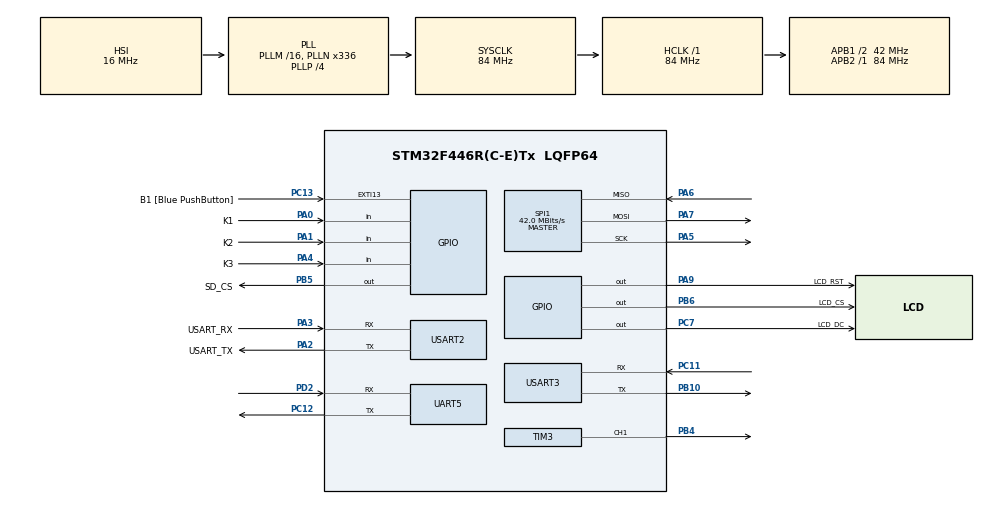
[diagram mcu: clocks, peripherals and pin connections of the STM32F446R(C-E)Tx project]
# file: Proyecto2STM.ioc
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Dma.Request0=SPI1_TX
Dma.SPI1_TX.0.Direction=DMA_MEMORY_TO_PERIPH
Dma.SPI1_TX.0.FIFOMode=DMA_FIFOMODE_DISABLE
Dma.SPI1_TX.0.Instance=DMA2_Stream3
Dma.SPI1_TX.0.MemDataAlignment=DMA_MDATAALIGN_BYTE
Dma.SPI1_TX.0.MemInc=DMA_MINC_ENABLE
Dma.SPI1_TX.0.Mode=DMA_NORMAL
Dma.SPI1_TX.0.PeriphDataAlignment=DMA_PDATAALIGN_BYTE
Dma.SPI1_TX.0.PeriphInc=DMA_PINC_DISABLE
Dma.SPI1_TX.0.Priority=DMA_PRIORITY_HIGH
Mcu.Family=STM32F4
Mcu.Name=STM32F446R(C-E)Tx
Mcu.Package=LQFP64
NVIC.DMA2_Stream3_IRQn=true\:0\:0\:false\:false\:true\:false\:true\:true
NVIC.PriorityGroup=NVIC_PRIORITYGROUP_0
NVIC.UART5_IRQn=true\:0\:0\:false\:false\:true\:true\:true\:true
NVIC.USART2_IRQn=true\:0\:0\:false\:false\:true\:true\:true\:true
NVIC.USART3_IRQn=true\:0\:0\:false\:false\:true\:true\:true\:true
PA0-WKUP.GPIO_Label=K1
PA0-WKUP.Signal=GPIO_Input
PA1.GPIO_Label=K2
PA1.Signal=GPIO_Input
PA13.GPIO_Label=TMS
PA13.Signal=SYS_JTMS-SWDIO
PA14.GPIO_Label=TCK
PA14.Signal=SYS_JTCK-SWCLK
PA2.GPIO_Label=USART_TX
PA2.Mode=Asynchronous
PA2.Signal=USART2_TX
PA3.GPIO_Label=USART_RX
PA3.Mode=Asynchronous
PA3.Signal=USART2_RX
PA4.GPIO_Label=K3
PA4.Signal=GPIO_Input
PA5.Mode=Full_Duplex_Master
PA5.Signal=SPI1_SCK
PA6.Mode=Full_Duplex_Master
PA6.Signal=SPI1_MISO
PA7.Mode=Full_Duplex_Master
PA7.Signal=SPI1_MOSI
PA9.GPIO_Label=LCD_RST
PA9.GPIO_Speed=GPIO_SPEED_FREQ_LOW
PA9.PinState=GPIO_PIN_SET
PA9.Signal=GPIO_Output
PB10.Mode=Asynchronous
PB10.Signal=USART3_TX
PB3.GPIO_Label=SWO
PB3.Signal=SYS_JTDO-SWO
PB4.Signal=S_TIM3_CH1
PB5.GPIO_Label=SD_CS
PB5.PinState=GPIO_PIN_SET
PB5.Signal=GPIO_Output
PB6.GPIO_Label=LCD_CS
PB6.GPIO_PuPd=GPIO_NOPULL
PB6.GPIO_Speed=GPIO_SPEED_FREQ_LOW
PB6.PinState=GPIO_PIN_SET
PB6.Signal=GPIO_Output
PC11.Mode=Asynchronous
PC11.Signal=USART3_RX
PC12.Mode=Asynchronous
PC12.Signal=UART5_TX
PC13.GPIO_Label=B1 [Blue PushButton]
PC13.GPIO_ModeDefaultEXTI=GPIO_MODE_IT_FALLING
PC13.Signal=GPXTI13
PC14-OSC32_IN.Signal=RCC_OSC32_IN
PC15-OSC32_OUT.Signal=RCC_OSC32_OUT
PC7.GPIO_Label=LCD_DC
PC7.GPIO_Speed=GPIO_SPEED_FREQ_LOW
PC7.Signal=GPIO_Output
PD2.Mode=Asynchronous
PD2.Signal=UART5_RX
PH0-OSC_IN.Signal=RCC_OSC_IN
PH1-OSC_OUT.Signal=RCC_OSC_OUT
ProjectManager.HeapSize=0x200
ProjectManager.StackSize=0x400
ProjectManager.TargetToolchain=STM32CubeIDE
RCC.AHBFreq_Value=84000000
RCC.APB1CLKDivider=RCC_HCLK_DIV2
RCC.APB1Freq_Value=42000000
RCC.APB1TimFreq_Value=84000000
RCC.APB2Freq_Value=84000000
RCC.APB2TimFreq_Value=84000000
RCC.CortexFreq_Value=84000000
RCC.FLatency-AdvancedSettings=FLASH_LATENCY_2
RCC.HCLKFreq_Value=84000000
RCC.HSE_VALUE=8000000
RCC.HSI_VALUE=16000000
RCC.LSE_VALUE=32768
RCC.PLLN=336
RCC.PLLP=RCC_PLLP_DIV4
RCC.SYSCLKFreq_VALUE=84000000
RCC.SYSCLKSource=RCC_SYSCLKSOURCE_PLLCLK
RCC.USBFreq_Value=168000000
RCC.VCOOutputFreq_Value=336000000
SH.S_TIM3_CH1.0=TIM3_CH1,PWM Generation1 CH1
SPI1.BaudRatePrescaler=SPI_BAUDRATEPRESCALER_2
SPI1.CalculateBaudRate=42.0 MBits/s
SPI1.Direction=SPI_DIRECTION_2LINES
SPI1.Mode=SPI_MODE_MASTER
SPI1.VirtualType=VM_MASTER
TIM3.Channel-PWM\ Generation1\ CH1=TIM_CHANNEL_1
TIM3.Period=999
TIM3.Prescaler=83
TIM3.Pulse-PWM\ Generation1\ CH1=500
UART5.VirtualMode=Asynchronous
USART2.VirtualMode=VM_ASYNC
USART3.VirtualMode=VM_ASYNC
VP_FATFS_VS_Generic.Mode=User_defined
board=NUCLEO-F446RE

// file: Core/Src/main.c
/* USER CODE BEGIN Header */
/**
  ******************************************************************************
  * @file           : main.c
  * @brief          : Main program body
  ******************************************************************************
  */
/* USER CODE END Header */
#include "main.h"
#include "fatfs.h"

/* USER CODE BEGIN Includes */

#include "ili9341.h"
#include <math.h>
#include "car_sprites.h"
#include "track_tiles.h"
#include "villa_nueva_map.h"
#include "caes_map.h"

/* USER CODE END Includes */

/* USER CODE BEGIN PTD */

typedef enum
{
    STATE_MENU,
    STATE_MAP_SELECT,
    STATE_CAR_SELECT_P1,
    STATE_CAR_SELECT_P2,
    STATE_GAME,
	STATE_RACE_END,
	STATE_RECORDS
} GameState;

/* USER CODE END PTD */

/* USER CODE BEGIN PD */
#define MAX_SPEED 340.0f
#define GRASS_MAX_SPEED 80.0f
#define GRASS_DRAG 600.0f
#define NO_RECORD_TIME 0xFFFFFFFFUL
#define CTRL_LEFT   0x01
#define CTRL_RIGHT  0x02
#define CTRL_ACCEL  0x04
#define CTRL_BRAKE  0x08
/* USER CODE END PD */

SPI_HandleTypeDef hspi1;
DMA_HandleTypeDef hdma_spi1_tx;

TIM_HandleTypeDef htim3;

UART_HandleTypeDef huart5;
UART_HandleTypeDef huart2;
UART_HandleTypeDef huart3;

/* USER CODE BEGIN PV */

float car1_x = 0.0f;
float car1_y = 0.0f;
float car1_angle = 90.0f;
float car1_speed = 0.0f;

float car2_x = 0.0f;
float car2_y = 0.0f;
float car2_angle = 90.0f;
float car2_speed = 0.0f;

uint8_t active_player = 1;

GPIO_PinState last_brake;

GPIO_PinState idle_k1;
GPIO_PinState idle_k2;
GPIO_PinState idle_k3;

GPIO_PinState last_k1;
GPIO_PinState last_k2;
GPIO_PinState last_k3;

uint32_t last_tick = 0;
uint32_t last_frame_tick = 0;

uint8_t countdown_active = 0;
uint32_t countdown_start_tick = 0;

uint32_t race_start_tick = 0;
uint32_t race_time_ms = 0;
uint8_t race_timer_started = 0;

uint8_t line_buffer[2][ILI9341_WIDTH * 2];

uint8_t *draw_buffer;

GameState game_state = STATE_MENU;

uint8_t menu_selection = 0;
uint8_t player_count = 1;

uint8_t selected_map = 0;

uint8_t car_selection = 0;
uint8_t selected_car_p1 = 0;
uint8_t selected_car_p2 = 1;

uint8_t lap_armed_p1 = 0;
uint8_t lap_armed_p2 = 0;

uint8_t winner_player = 0;
uint32_t race_end_tick = 0;

uint8_t sd_available = 0;

uint32_t best_time[2] =
{
    NO_RECORD_TIME,   // Villa Nueva
    NO_RECORD_TIME    // CAES
};

volatile uint8_t p1_controls = 0;
uint8_t p1_rx_byte = 0;
uint32_t p1_last_rx_tick = 0;

volatile uint8_t p2_controls = 0;
uint8_t p2_rx_byte = 0;
uint32_t p2_last_rx_tick = 0;

GPIO_PinState idle_brake;

/* USER CODE END PV */

void SystemClock_Config(void);
static void MX_GPIO_Init(void);
static void MX_DMA_Init(void);
static void MX_SPI1_Init(void);
static void MX_TIM3_Init(void);
static void MX_USART2_UART_Init(void);
static void MX_USART3_UART_Init(void);
static void MX_UART5_Init(void);
/* USER CODE BEGIN PFP */
static void CheckAndSaveRecord(void);
/* USER CODE END PFP */

/* USER CODE BEGIN 0 */

static void ResetRacePosition(void)
{
    car1_speed = 0.0f;
    car2_speed = 0.0f;

    active_player = 1;

    lap_armed_p1 = 0;
    lap_armed_p2 = 0;

    winner_player = 0;

    race_start_tick = 0;
    race_time_ms = 0;
    race_timer_started = 0;

    if (selected_map == 0)
    {
        float start_world_x =
            VILLA_NUEVA_START_TILE_X *
            TRACK_TILE_SIZE +
            TRACK_TILE_SIZE / 2.0f;

        float start_world_y =
            VILLA_NUEVA_START_TILE_Y *
            TRACK_TILE_SIZE +
            TRACK_TILE_SIZE / 2.0f;

        if (player_count == 1)
        {
            car1_x =
                start_world_x;

            car1_y =
                start_world_y;
        }
        else
        {
            /*
             * La meta va horizontalmente
             * y los carros miran hacia +X.
             *
             * Por eso los separamos en Y.
             */

            car1_x =
                start_world_x;

            car1_y =
                start_world_y - 18.0f;

            car2_x =
                start_world_x;

            car2_y =
                start_world_y + 18.0f;
        }

        car1_angle = 90.0f;
        car2_angle = 90.0f;
    }
    else if (selected_map == 1)
    {
        float start_world_x =
            CAES_START_TILE_X *
            TRACK_TILE_SIZE +
            TRACK_TILE_SIZE / 2.0f;

        float start_world_y =
            CAES_START_TILE_Y *
            TRACK_TILE_SIZE +
            TRACK_TILE_SIZE / 2.0f;

        if (player_count == 1)
        {
            car1_x =
                start_world_x;

            car1_y =
                start_world_y;
        }
        else
        {
            car1_x =
                start_world_x;

            car1_y =
                start_world_y -
                18.0f;

            car2_x =
                start_world_x;

            car2_y =
                start_world_y +
                18.0f;
        }

        car1_angle = 90.0f;
        car2_angle = 90.0f;
    }

    countdown_active = 1;
    countdown_start_tick = HAL_GetTick();
}

static void UpdateCar(
    float *x,
    float *y,
    float *angle,
    float *speed,
    uint8_t left,
    uint8_t right,
    uint8_t accel,
    uint8_t brake,
    float dt)
{
    const float TURN_SPEED =
        180.0f;

    const float ACCELERATION =
        100.0f;

    const float BRAKE_FORCE =
        450.0f;

    const float COAST_DRAG =
        40.0f;

    if (left && !right)
    {
        *angle -=
            TURN_SPEED *
            dt;

        if (*angle < 0.0f)
        {
            *angle += 360.0f;
        }
    }

    if (right && !left)
    {
        *angle +=
            TURN_SPEED *
            dt;

        if (*angle >= 360.0f)
        {
            *angle -= 360.0f;
        }
    }

    if (brake)
    {
        *speed -=
            BRAKE_FORCE *
            dt;
    }
    else if (accel)
    {
        *speed +=
            ACCELERATION *
            dt;
    }
    else
    {
        *speed -=
            COAST_DRAG *
            dt;
    }

    if (*speed > MAX_SPEED)
    {
        *speed =
            MAX_SPEED;
    }

    if (*speed < 0.0f)
    {
        *speed =
            0.0f;
    }

    if (*speed > 0.0f)
    {
        float radians =
            (*angle) *
            3.14159265f /
            180.0f;

        *x +=
            sinf(radians) *
            (*speed) *
            dt;

        *y -=
            cosf(radians) *
            (*speed) *
            dt;
    }
}

static int PositiveMod(int value, int modulo)
{
    int result = value % modulo;

    if (result < 0)
    {
        result += modulo;
    }

    return result;
}

static int FloorDiv32(int value)
{
    if (value >= 0)
    {
        return value / TRACK_TILE_SIZE;
    }

    return -(
        (-value + TRACK_TILE_SIZE - 1) /
        TRACK_TILE_SIZE
    );
}

static uint8_t GetTrackTileAtPosition(
    float x,
    float y)
{
    int tile_x =
        FloorDiv32((int)x);

    int tile_y =
        FloorDiv32((int)y);

    if (selected_map == 0)
    {
        if (tile_x < 0 ||
            tile_y < 0 ||
            tile_x >= VILLA_NUEVA_MAP_WIDTH ||
            tile_y >= VILLA_NUEVA_MAP_HEIGHT)
        {
            return TRACK_TILE_GRASS;
        }

        return
            villa_nueva_map[tile_y][tile_x];
    }

    if (selected_map == 1)
    {
        if (tile_x < 0 ||
            tile_y < 0 ||
            tile_x >= CAES_MAP_WIDTH ||
            tile_y >= CAES_MAP_HEIGHT)
        {
            return TRACK_TILE_GRASS;
        }

        return
            caes_map[tile_y][tile_x];
    }

    return TRACK_TILE_GRASS;
}

static uint8_t IsCarOnGrass(
    float x,
    float y)
{
    return
        GetTrackTileAtPosition(x, y)
        == TRACK_TILE_GRASS;
}

static uint8_t IsOnFinish(
    float x,
    float y)
{
    uint8_t tile =
        GetTrackTileAtPosition(x, y);

    return
        tile >= TRACK_TILE_FINISH_00 &&
        tile <= TRACK_TILE_FINISH_0F;
}

static uint8_t IsInLapCheckpoint(
    float x,
    float y)
{
    int tile_x =
        FloorDiv32((int)x);

    int tile_y =
        FloorDiv32((int)y);

    /*
     * Tiene que estar sobre pista.
     */
    if (GetTrackTileAtPosition(x, y)
        == TRACK_TILE_GRASS)
    {
        return 0;
    }

    /*
     * VILLA NUEVA:
     * zona izquierda del circuito.
     */
    if (selected_map == 0)
    {
        return
            tile_x >= 8 &&
            tile_x <= 16 &&
            tile_y >= 20 &&
            tile_y <= 40;
    }

    /*
     * CAES:
     * parte superior del circuito.
     */
    if (selected_map == 1)
    {
        return
            tile_x >= 52 &&
            tile_x <= 60 &&
            tile_y >= 8 &&
            tile_y <= 18;
    }

    return 0;
}

static uint8_t CheckLapCompleted(
    float x,
    float y,
    uint8_t *lap_armed)
{
    if (!(*lap_armed))
    {
        if (IsInLapCheckpoint(x, y))
        {
            *lap_armed = 1;
        }

        return 0;
    }

    if (IsOnFinish(x, y))
    {
        return 1;
    }

    return 0;
}

static void RenderVillaNuevaLineFast(int world_start_x,
                                     int world_y)
{
    int pixel_y =
        PositiveMod(
            world_y,
            TRACK_TILE_SIZE
        );

    int tile_y =
        FloorDiv32(world_y);

    int screen_x = 0;
    int world_x = world_start_x;

    while (screen_x < ILI9341_WIDTH)
    {
        int pixel_x =
            PositiveMod(
                world_x,
                TRACK_TILE_SIZE
            );

        int tile_x =
            FloorDiv32(world_x);

        int run =
            TRACK_TILE_SIZE -
            pixel_x;

        if (run >
            ILI9341_WIDTH -
            screen_x)
        {
            run =
                ILI9341_WIDTH -
                screen_x;
        }

        uint8_t tile =
            TRACK_TILE_GRASS;

        if (tile_x >= 0 &&
            tile_y >= 0 &&
            tile_x <
                VILLA_NUEVA_MAP_WIDTH &&
            tile_y <
                VILLA_NUEVA_MAP_HEIGHT)
        {
            tile =
                villa_nueva_map[
                    tile_y
                ][
                    tile_x
                ];
        }

        const uint16_t *src =
            &track_tiles[
                tile
            ][
                pixel_y *
                TRACK_TILE_SIZE +
                pixel_x
            ];

        for (int i = 0;
             i < run;
             i++)
        {
            uint16_t color =
                src[i];

            int x =
                screen_x + i;

            draw_buffer[
                x * 2
            ] =
                (color >> 8) &
                0xFF;

            draw_buffer[
                x * 2 + 1
            ] =
                color &
                0xFF;
        }

        screen_x += run;
        world_x += run;
    }
}

static void RenderCAESLineFast(
    int world_start_x,
    int world_y)
{
    int pixel_y =
        PositiveMod(
            world_y,
            TRACK_TILE_SIZE
        );

    int tile_y =
        FloorDiv32(
            world_y
        );

    int screen_x = 0;
    int world_x =
        world_start_x;

    while (screen_x <
           ILI9341_WIDTH)
    {
        int pixel_x =
            PositiveMod(
                world_x,
                TRACK_TILE_SIZE
            );

        int tile_x =
            FloorDiv32(
                world_x
            );

        int run =
            TRACK_TILE_SIZE -
            pixel_x;

        if (run >
            ILI9341_WIDTH -
            screen_x)
        {
            run =
                ILI9341_WIDTH -
                screen_x;
        }

        uint8_t tile =
            TRACK_TILE_GRASS;

        if (tile_x >= 0 &&
            tile_y >= 0 &&
            tile_x <
                CAES_MAP_WIDTH &&
            tile_y <
                CAES_MAP_HEIGHT)
        {
            tile =
                caes_map[
                    tile_y
                ][
                    tile_x
                ];
        }

        const uint16_t *src =
            &track_tiles[
                tile
            ][
                pixel_y *
                TRACK_TILE_SIZE +
                pixel_x
            ];

        for (int i = 0;
             i < run;
             i++)
        {
            uint16_t color =
                src[i];

            int x =
                screen_x +
                i;

            draw_buffer[
                x * 2
            ] =
                (color >> 8) &
                0xFF;

            draw_buffer[
                x * 2 + 1
            ] =
                color &
                0xFF;
        }

        screen_x += run;
        world_x += run;
    }
}

static void SetPixelInLine(int x, uint16_t color)
{
    if (x < 0 ||
        x >= ILI9341_WIDTH)
    {
        return;
    }

    draw_buffer[x * 2] =
        (color >> 8) & 0xFF;

    draw_buffer[x * 2 + 1] =
        color & 0xFF;
}

static uint16_t GetCarPixelForPlayer(
    uint8_t car_id,
    float local_x,
    float local_y)
{
    const uint16_t *sprite =
        CarSprites_Get(car_id);

    int sprite_x =
        (int)roundf(local_x) +
        (CAR_SPRITE_WIDTH / 2);

    int sprite_y =
        (int)roundf(local_y) +
        (CAR_SPRITE_HEIGHT / 2);

    if (sprite_x < 0 ||
        sprite_x >= CAR_SPRITE_WIDTH ||
        sprite_y < 0 ||
        sprite_y >= CAR_SPRITE_HEIGHT)
    {
        return CAR_TRANSPARENT;
    }

    return sprite[
        sprite_y *
        CAR_SPRITE_WIDTH +
        sprite_x
    ];
}

static void GetGlyph(char c, uint8_t glyph[5])
{
    for (int i = 0; i < 5; i++)
    {
        glyph[i] = 0;
    }

    switch (c)
    {
        case 'A':
        {
            uint8_t g[5] = {0x7E,0x11,0x11,0x11,0x7E};
            for (int i = 0; i < 5; i++) glyph[i] = g[i];
            break;
        }

        case 'B':
        {
            uint8_t g[5] = {0x7F,0x49,0x49,0x49,0x36};
            for (int i = 0; i < 5; i++) glyph[i] = g[i];
            break;
        }

        case 'C':
        {
            uint8_t g[5] = {0x3E,0x41,0x41,0x41,0x22};
            for (int i = 0; i < 5; i++) glyph[i] = g[i];
            break;
        }

        case 'D':
        {
            uint8_t g[5] = {0x7F,0x41,0x41,0x22,0x1C};
            for (int i = 0; i < 5; i++) glyph[i] = g[i];
            break;
        }

        case 'E':
        {
            uint8_t g[5] = {0x7F,0x49,0x49,0x49,0x41};
            for (int i = 0; i < 5; i++) glyph[i] = g[i];
            break;
        }

        case 'G':
        {
            uint8_t g[5] = {0x3E,0x41,0x49,0x49,0x3A};
            for (int i = 0; i < 5; i++) glyph[i] = g[i];
            break;
        }

        case 'I':
        {
            uint8_t g[5] = {0x00,0x41,0x7F,0x41,0x00};
            for (int i = 0; i < 5; i++) glyph[i] = g[i];
            break;
        }

        case 'K':
        {
            uint8_t g[5] = {0x7F,0x08,0x14,0x22,0x41};
            for (int i = 0; i < 5; i++) glyph[i] = g[i];
            break;
        }

        case 'L':
        {
            uint8_t g[5] = {0x7F,0x40,0x40,0x40,0x40};
            for (int i = 0; i < 5; i++) glyph[i] = g[i];
            break;
        }

        case 'N':
        {
            uint8_t g[5] = {0x7F,0x02,0x0C,0x10,0x7F};
            for (int i = 0; i < 5; i++) glyph[i] = g[i];
            break;
        }

        case 'O':
        {
            uint8_t g[5] = {0x3E,0x41,0x41,0x41,0x3E};
            for (int i = 0; i < 5; i++) glyph[i] = g[i];
            break;
        }

        case 'P':
        {
            uint8_t g[5] = {0x7F,0x09,0x09,0x09,0x06};
            for (int i = 0; i < 5; i++) glyph[i] = g[i];
            break;
        }

        case 'Q':
        {
            uint8_t g[5] = {0x3E,0x41,0x51,0x21,0x5E};
            for (int i = 0; i < 5; i++) glyph[i] = g[i];
            break;
        }

        case 'R':
        {
            uint8_t g[5] = {0x7F,0x09,0x19,0x29,0x46};
            for (int i = 0; i < 5; i++) glyph[i] = g[i];
            break;
        }

        case 'S':
        {
            uint8_t g[5] = {0x46,0x49,0x49,0x49,0x31};
            for (int i = 0; i < 5; i++) glyph[i] = g[i];
            break;
        }

        case 'T':
        {
            uint8_t g[5] = {0x01,0x01,0x7F,0x01,0x01};
            for (int i = 0; i < 5; i++) glyph[i] = g[i];
            break;
        }

        case 'U':
        {
            uint8_t g[5] = {0x3F,0x40,0x40,0x40,0x3F};
            for (int i = 0; i < 5; i++) glyph[i] = g[i];
            break;
        }

        case 'V':
        {
            uint8_t g[5] = {0x1F,0x20,0x40,0x20,0x1F};
            for (int i = 0; i < 5; i++) glyph[i] = g[i];
            break;
        }

        case 'M':
        {
            uint8_t g[5] =
            {
                0x7F,
                0x02,
                0x0C,
                0x02,
                0x7F
            };

            for (int i = 0; i < 5; i++)
                glyph[i] = g[i];

            break;
        }

        case 'W':
        {
            uint8_t g[5] = {0x3F,0x40,0x38,0x40,0x3F};
            for (int i = 0; i < 5; i++) glyph[i] = g[i];
            break;
        }

        case 'Y':
        {
            uint8_t g[5] = {0x03,0x04,0x78,0x04,0x03};
            for (int i = 0; i < 5; i++) glyph[i] = g[i];
            break;
        }

        case '0':
        {
            uint8_t g[5] = {0x3E,0x51,0x49,0x45,0x3E};
            for (int i = 0; i < 5; i++) glyph[i] = g[i];
            break;
        }

        case '1':
        {
            uint8_t g[5] = {0x00,0x42,0x7F,0x40,0x00};
            for (int i = 0; i < 5; i++) glyph[i] = g[i];
            break;
        }

        case '2':
        {
            uint8_t g[5] = {0x62,0x51,0x49,0x49,0x46};
            for (int i = 0; i < 5; i++) glyph[i] = g[i];
            break;
        }

        case '3':
        {
            uint8_t g[5] = {0x22,0x41,0x49,0x49,0x36};
            for (int i = 0; i < 5; i++) glyph[i] = g[i];
            break;
        }

        case '4':
        {
            uint8_t g[5] = {0x18,0x14,0x12,0x7F,0x10};
            for (int i = 0; i < 5; i++) glyph[i] = g[i];
            break;
        }

        case '5':
        {
            uint8_t g[5] = {0x27,0x45,0x45,0x45,0x39};
            for (int i = 0; i < 5; i++) glyph[i] = g[i];
            break;
        }

        case '6':
        {
            uint8_t g[5] = {0x3C,0x4A,0x49,0x49,0x30};
            for (int i = 0; i < 5; i++) glyph[i] = g[i];
            break;
        }

        case '7':
        {
            uint8_t g[5] = {0x01,0x71,0x09,0x05,0x03};
            for (int i = 0; i < 5; i++) glyph[i] = g[i];
            break;
        }

        case '8':
        {
            uint8_t g[5] = {0x36,0x49,0x49,0x49,0x36};
            for (int i = 0; i < 5; i++) glyph[i] = g[i];
            break;
        }

        case '9':
        {
            uint8_t g[5] = {0x06,0x49,0x49,0x29,0x1E};
            for (int i = 0; i < 5; i++) glyph[i] = g[i];
            break;
        }

        case ':':
        {
            uint8_t g[5] = {0x00,0x36,0x36,0x00,0x00};
            for (int i = 0; i < 5; i++) glyph[i] = g[i];
            break;
        }

        case '.':
        {
            uint8_t g[5] = {0x00,0x60,0x60,0x00,0x00};
            for (int i = 0; i < 5; i++) glyph[i] = g[i];
            break;
        }

        case '>':
        {
            uint8_t g[5] = {0x00,0x22,0x14,0x08,0x00};
            for (int i = 0; i < 5; i++) glyph[i] = g[i];
            break;
        }

        case ' ':
        default:
            break;
    }
}

static void DrawCountdownLine(int screen_y)
{
    if (!countdown_active)
    {
        return;
    }

    uint32_t elapsed =
        HAL_GetTick() -
        countdown_start_tick;

    char text[3] =
    {
        '\0',
        '\0',
        '\0'
    };

    int chars = 1;

    uint16_t color =
        ILI9341_YELLOW;

    if (elapsed < 1000)
    {
        text[0] = '3';
    }
    else if (elapsed < 2000)
    {
        text[0] = '2';
    }
    else if (elapsed < 3000)
    {
        text[0] = '1';
    }
    else if (elapsed < 3500)
    {
        text[0] = 'G';
        text[1] = 'O';

        chars = 2;

        color =
            ILI9341_GREEN;
    }
    else
    {
        return;
    }

    const int scale = 8;

    const int glyph_height =
        7 * scale;

    const int start_y =
        (ILI9341_HEIGHT -
         glyph_height) / 2;

    if (screen_y < start_y ||
        screen_y >=
        start_y +
        glyph_height)
    {
        return;
    }

    int row =
        (screen_y -
         start_y) /
        scale;

    int text_width =
        (chars * 6 - 1) *
        scale;

    int start_x =
        (ILI9341_WIDTH -
         text_width) / 2;

    for (int ch = 0;
         ch < chars;
         ch++)
    {
        uint8_t glyph[5];

        GetGlyph(
            text[ch],
            glyph
        );

        int char_x =
            start_x +
            ch * 6 * scale;

        for (int col = 0;
             col < 5;
             col++)
        {
            if (glyph[col] &
                (1 << row))
            {
                int x0 =
                    char_x +
                    col * scale;

                for (int dx = 0;
                     dx < scale;
                     dx++)
                {
                    SetPixelInLine(
                        x0 + dx,
                        color
                    );
                }
            }
        }
    }
}

static void FormatLapTime(uint32_t ms, char text[9])
{
    uint32_t minutes = ms / 60000;
    uint32_t seconds = (ms / 1000) % 60;
    uint32_t hundredths = (ms / 10) % 100;

    if (minutes > 99)
        minutes = 99;

    text[0] = '0' + (minutes / 10);
    text[1] = '0' + (minutes % 10);
    text[2] = ':';
    text[3] = '0' + (seconds / 10);
    text[4] = '0' + (seconds % 10);
    text[5] = '.';
    text[6] = '0' + (hundredths / 10);
    text[7] = '0' + (hundredths % 10);
    text[8] = '\0';
}

static void DrawLapTimerLine(int local_y)
{
    if (!race_timer_started)
        return;

    const int scale = 2;
    const int box_x = 68;
    const int box_y = 20;
    const int box_w = 104;
    const int box_h = 20;

    if (local_y < box_y ||
        local_y >= box_y + box_h)
        return;

    for (int x = box_x;
         x < box_x + box_w;
         x++)
    {
        SetPixelInLine(x, ILI9341_BLACK);
    }

    const int text_y = 23;

    if (local_y < text_y ||
        local_y >= text_y + 7 * scale)
        return;

    char text[9];
    FormatLapTime(race_time_ms, text);

    int row =
        (local_y - text_y) /
        scale;

    int start_x = 72;

    for (int ch = 0;
         text[ch] != '\0';
         ch++)
    {
        uint8_t glyph[5];

        GetGlyph(
            text[ch],
            glyph
        );

        int char_x =
            start_x +
            ch * 6 * scale;

        for (int col = 0;
             col < 5;
             col++)
        {
            if (glyph[col] &
                (1 << row))
            {
                for (int dx = 0;
                     dx < scale;
                     dx++)
                {
                    SetPixelInLine(
                        char_x +
                        col * scale +
                        dx,
                        ILI9341_WHITE
                    );
                }
            }
        }
    }
}

static void DrawChar5x7(int x,
                        int y,
                        char c,
                        uint16_t color,
                        int scale)
{
    uint8_t glyph[5];

    GetGlyph(c, glyph);

    for (int col = 0; col < 5; col++)
    {
        for (int row = 0; row < 7; row++)
        {
            if (glyph[col] & (1 << row))
            {
                ILI9341_FillRect(
                    x + col * scale,
                    y + row * scale,
                    scale,
                    scale,
                    color
                );
            }
        }
    }
}

static void DrawText5x7(int x,
                        int y,
                        const char *text,
                        uint16_t color,
                        int scale)
{
    while (*text)
    {
        DrawChar5x7(
            x,
            y,
            *text,
            color,
            scale
        );

        x += 6 * scale;

        text++;
    }
}

static void DrawMenu(void)
{
    ILI9341_FillScreen(ILI9341_BLACK);

    DrawText5x7(
        12,
        45,
        "VILLA NUEVA RACING",
        ILI9341_WHITE,
        2
    );

    if (menu_selection == 0)
    {
        DrawText5x7(
            48,
            135,
            "> 1 PLAYER",
            ILI9341_YELLOW,
            2
        );

        DrawText5x7(
            48,
            175,
            "  2 PLAYERS",
            ILI9341_WHITE,
            2
        );
    }
    else
    {
        DrawText5x7(
            48,
            135,
            "  1 PLAYER",
            ILI9341_WHITE,
            2
        );

        DrawText5x7(
            48,
            175,
            "> 2 PLAYERS",
            ILI9341_YELLOW,
            2
        );
    }

    DrawText5x7(
        42,
        255,
        "K1 K2 SELECT",
        ILI9341_GREEN,
        1
    );

    DrawText5x7(
        78,
        280,
        "K3 START",
        ILI9341_GREEN,
        1
    );
}

static void DrawMapSelect(void)
{
    ILI9341_FillScreen(ILI9341_BLACK);

    DrawText5x7(
        48,
        40,
        "SELECT TRACK",
        ILI9341_WHITE,
        2
    );

    DrawText5x7(
        55,
        135,
        "K1 VILLA NUEVA",
        ILI9341_YELLOW,
        1
    );

    DrawText5x7(
        75,
        185,
        "K2 CAES",
        ILI9341_YELLOW,
        1
    );

    DrawText5x7(
            81,
            235,
            "K3 RECORDS",
            ILI9341_GREEN,
            1
    );
}

static void DrawRecords(void)
{
    char time_text[9];

    ILI9341_FillScreen(
        ILI9341_BLACK
    );

    DrawText5x7(
        78,
        35,
        "RECORDS",
        ILI9341_WHITE,
        2
    );

    /*
     * No hay microSD.
     */
    if (!sd_available)
    {
        DrawText5x7(
            60,
            145,
            "NO MEMORY",
            ILI9341_RED,
            2
        );

        DrawText5x7(
            90,
            275,
            "K3 BACK",
            ILI9341_GREEN,
            1
        );

        return;
    }

    /*
     * Villa Nueva
     */
    DrawText5x7(
        72,
        95,
        "VILLA NUEVA",
        ILI9341_YELLOW,
        1
    );

    if (best_time[0] ==
        NO_RECORD_TIME)
    {
        DrawText5x7(
            90,
            120,
            "NO RECORD",
            ILI9341_WHITE,
            1
        );
    }
    else
    {
        FormatLapTime(
            best_time[0],
            time_text
        );

        DrawText5x7(
            72,
            115,
            time_text,
            ILI9341_WHITE,
            2
        );
    }

    /*
     * CAES
     */
    DrawText5x7(
        108,
        180,
        "CAES",
        ILI9341_YELLOW,
        1
    );

    if (best_time[1] ==
        NO_RECORD_TIME)
    {
        DrawText5x7(
            90,
            205,
            "NO RECORD",
            ILI9341_WHITE,
            1
        );
    }
    else
    {
        FormatLapTime(
            best_time[1],
            time_text
        );

        DrawText5x7(
            72,
            200,
            time_text,
            ILI9341_WHITE,
            2
        );
    }

    DrawText5x7(
        90,
        275,
        "K3 BACK",
        ILI9341_GREEN,
        1
    );

}

static void DrawCarSelect(uint8_t player)
{
    const char *car_names[4] =
    {
        "RED",
        "BLUE",
        "YELLOW",
        "GREEN"
    };

    uint16_t car_colors[4] =
    {
        ILI9341_RED,
        ILI9341_BLUE,
        ILI9341_YELLOW,
        ILI9341_GREEN
    };

    ILI9341_FillScreen(ILI9341_BLACK);

    DrawText5x7(
        54,
        35,
        "SELECT CAR",
        ILI9341_WHITE,
        2
    );

    if (player == 1)
    {
        DrawText5x7(
            84,
            75,
            "PLAYER 1",
            ILI9341_WHITE,
            1
        );
    }
    else
    {
        DrawText5x7(
            84,
            75,
            "PLAYER 2",
            ILI9341_WHITE,
            1
        );
    }

    DrawText5x7(
        84,
        110,
        car_names[car_selection],
        car_colors[car_selection],
        2
    );

    ILI9341_FillRect(
        95,
        155,
        50,
        75,
        car_colors[car_selection]
    );

    ILI9341_FillRect(
        103,
        165,
        34,
        18,
        ILI9341_WHITE
    );

    ILI9341_FillRect(
        103,
        202,
        34,
        18,
        ILI9341_WHITE
    );

    DrawText5x7(
        30,
        255,
        "K1",
        ILI9341_WHITE,
        1
    );

    DrawText5x7(
        195,
        255,
        "K2",
        ILI9341_WHITE,
        1
    );

    DrawText5x7(
        78,
        285,
        "K3 SELECT",
        ILI9341_GREEN,
        1
    );
}

static void DrawCarOnLine(
    int local_y,
    int center_x,
    int center_y,
    float angle,
    uint8_t car_id)
{
    int dy =
        local_y -
        center_y;

    if (dy < -30 ||
        dy > 30)
    {
        return;
    }

    float radians =
        angle *
        3.14159265f /
        180.0f;

    float c =
        cosf(radians);

    float s =
        sinf(radians);

    for (int x =
             center_x - 30;
         x <=
             center_x + 30;
         x++)
    {
        if (x < 0 ||
            x >= ILI9341_WIDTH)
        {
            continue;
        }

        int dx =
            x -
            center_x;

        float local_x =
            dx * c +
            dy * s;

        float local_car_y =
            -dx * s +
            dy * c;

        uint16_t color =
            GetCarPixelForPlayer(
                car_id,
                local_x,
                local_car_y
            );

        if (color !=
            CAR_TRANSPARENT)
        {
            SetPixelInLine(
                x,
                color
            );
        }
    }
}

static void DrawSpeedBarLine(
    int local_y,
    float speed)
{
    const int speed_x = 20;
    const int speed_y = 6;
    const int speed_width = 200;
    const int speed_height = 8;

    if (local_y < speed_y ||
        local_y >=
            speed_y +
            speed_height)
    {
        return;
    }

    int speed_percent =
        (int)(
            speed /
            MAX_SPEED *
            100.0f
        );

    if (speed_percent < 0)
    {
        speed_percent = 0;
    }

    if (speed_percent > 100)
    {
        speed_percent = 100;
    }

    int fill_width =
        speed_percent *
        (speed_width - 2) /
        100;

    for (int x = speed_x;
         x <
             speed_x +
             speed_width;
         x++)
    {
        uint16_t color =
            ILI9341_BLACK;

        if (local_y == speed_y ||
            local_y ==
                speed_y +
                speed_height - 1 ||
            x == speed_x ||
            x ==
                speed_x +
                speed_width - 1)
        {
            color =
                ILI9341_WHITE;
        }
        else if (
            x <
            speed_x +
            1 +
            fill_width)
        {
            color =
                ILI9341_GREEN;
        }

        SetPixelInLine(
            x,
            color
        );
    }
}

static void RenderFrame(void)
{
    uint8_t buffer_index = 0;

    ILI9341_BeginFrame();

    for (int y = 0;
         y < ILI9341_HEIGHT;
         y++)
    {
        draw_buffer =
            line_buffer[buffer_index];

        /*
         * =========================
         *      UN JUGADOR
         * =========================
         */

        if (player_count == 1)
        {
            const int center_x =
                ILI9341_WIDTH / 2;

            const int center_y =
                ILI9341_HEIGHT / 2;

            int camera_x =
                (int)car1_x -
                center_x;

            int camera_y =
                (int)car1_y -
                center_y;

            int world_y =
                camera_y +
                y;

            if (selected_map == 0)
            {
                RenderVillaNuevaLineFast(
                    camera_x,
                    world_y
                );
            }
            else if (selected_map == 1)
            {
                RenderCAESLineFast(
                    camera_x,
                    world_y
                );
            }

            DrawCarOnLine(
                y,
                center_x,
                center_y,
                car1_angle,
                selected_car_p1
            );

            DrawSpeedBarLine(
                y,
                car1_speed
            );
            DrawLapTimerLine(y);
        }

        /*
         * =========================
         *      DOS JUGADORES
         * =========================
         */

        else
        {
            /*
             * P1:
             * líneas 0 - 158
             */

            if (y < 159)
            {
                const int local_y =
                    y;

                const int center_x =
                    120;

                const int center_y =
                    79;

                int camera_x =
                    (int)car1_x -
                    center_x;

                int camera_y =
                    (int)car1_y -
                    center_y;

                int world_y =
                    camera_y +
                    local_y;

                if (selected_map == 0)
                {
                    RenderVillaNuevaLineFast(
                        camera_x,
                        world_y
                    );
                }
                else if (selected_map == 1)
                {
                    RenderCAESLineFast(
                        camera_x,
                        world_y
                    );
                }

                DrawCarOnLine(
                    local_y,
                    center_x,
                    center_y,
                    car1_angle,
                    selected_car_p1
                );

                DrawSpeedBarLine(
                    local_y,
                    car1_speed
                );
                DrawLapTimerLine(local_y);

                /*
                 * Indicador amarillo:
                 * K1/K2/K3 controlan P1.
                 */

                if (active_player == 1)
                {
                    SetPixelInLine(
                        0,
                        ILI9341_YELLOW
                    );

                    SetPixelInLine(
                        1,
                        ILI9341_YELLOW
                    );

                    SetPixelInLine(
                        2,
                        ILI9341_YELLOW
                    );

                    SetPixelInLine(
                        3,
                        ILI9341_YELLOW
                    );
                }
            }

            /*
             * Separador central.
             */

            else if (
                y == 159 ||
                y == 160)
            {
                for (int x = 0;
                     x <
                         ILI9341_WIDTH;
                     x++)
                {
                    SetPixelInLine(
                        x,
                        ILI9341_WHITE
                    );
                }
            }

            /*
             * P2:
             * líneas 161 - 319
             */

            else
            {
                const int local_y =
                    y - 161;

                const int center_x =
                    120;

                const int center_y =
                    79;

                int camera_x =
                    (int)car2_x -
                    center_x;

                int camera_y =
                    (int)car2_y -
                    center_y;

                int world_y =
                    camera_y +
                    local_y;

                if (selected_map == 0)
                {
                    RenderVillaNuevaLineFast(
                        camera_x,
                        world_y
                    );
                }
                else if (selected_map == 1)
                {
                    RenderCAESLineFast(
                        camera_x,
                        world_y
                    );
                }

                DrawCarOnLine(
                    local_y,
                    center_x,
                    center_y,
                    car2_angle,
                    selected_car_p2
                );

                DrawSpeedBarLine(
                    local_y,
                    car2_speed
                );

                DrawLapTimerLine(local_y);

                if (active_player == 2)
                {
                    SetPixelInLine(
                        0,
                        ILI9341_YELLOW
                    );

                    SetPixelInLine(
                        1,
                        ILI9341_YELLOW
                    );

                    SetPixelInLine(
                        2,
                        ILI9341_YELLOW
                    );

                    SetPixelInLine(
                        3,
                        ILI9341_YELLOW
                    );
                }
            }
        }

        DrawCountdownLine(y);

        /*
         * DMA
         */

        if (y > 0)
        {
            ILI9341_WaitDMA();
        }

        ILI9341_WriteLineDMA(
            line_buffer[
                buffer_index
            ],
            ILI9341_WIDTH * 2
        );

        buffer_index ^= 1;
    }

    ILI9341_WaitDMA();

    ILI9341_EndFrame();
}

static void FinishRace(uint8_t player)
{
    winner_player = player;

    car1_speed = 0.0f;
    car2_speed = 0.0f;

    if (race_timer_started)
    {
        race_time_ms =
            HAL_GetTick() -
            race_start_tick;
    }

    /*
     * Render final:
     * dejamos congelada la carrera
     * exactamente donde terminó.
     */
    RenderFrame();
    race_timer_started = 0;

    /*
     * Caja encima de la imagen congelada.
     */
    ILI9341_FillRect(
        55,
        125,
        130,
        70,
        ILI9341_BLACK
    );

    if (player == 1)
    {
        DrawText5x7(
            78,
            148,
            "P1 WINS",
            ILI9341_YELLOW,
            2
        );
    }
    else
    {
        DrawText5x7(
            78,
            148,
            "P2 WINS",
            ILI9341_YELLOW,
            2
        );
    }

    char final_time_text[9];

    FormatLapTime(
        race_time_ms,
        final_time_text
    );

    DrawText5x7(
        72,
        174,
        final_time_text,
        ILI9341_WHITE,
        2
    );

    /*
     * Revisar si este tiempo
     * es un nuevo récord.
     */
    CheckAndSaveRecord();

    race_end_tick =
        HAL_GetTick();

    game_state =
        STATE_RACE_END;
}

static void LoadRecordsFromSD(void)
{
    FIL file;
    UINT bytes_read;

    uint32_t loaded[2];

    best_time[0] = NO_RECORD_TIME;
    best_time[1] = NO_RECORD_TIME;

    /*
     * Intentar montar la SD.
     */
    if (f_mount(
            &USERFatFS,
            USERPath,
            1) != FR_OK)
    {
        sd_available = 0;
        return;
    }

    sd_available = 1;

    /*
     * Si records.dat todavía no existe,
     * simplemente no hay récords.
     */
    if (f_open(
            &file,
            "0:/records.dat",
            FA_READ) != FR_OK)
    {
        return;
    }

    if (f_read(
            &file,
            loaded,
            sizeof(loaded),
            &bytes_read) == FR_OK &&
        bytes_read == sizeof(loaded))
    {
        best_time[0] = loaded[0];
        best_time[1] = loaded[1];
    }

    f_close(&file);
}

static void SaveRecordsToSD(void)
{
    FIL file;
    UINT bytes_written;

    if (!sd_available)
    {
        return;
    }

    if (f_open(
            &file,
            "0:/records.dat",
            FA_CREATE_ALWAYS |
            FA_WRITE) != FR_OK)
    {
        sd_available = 0;
        return;
    }

    if (f_write(
            &file,
            best_time,
            sizeof(best_time),
            &bytes_written) != FR_OK ||
        bytes_written != sizeof(best_time))
    {
        sd_available = 0;
    }

    f_close(&file);
}

static void CheckAndSaveRecord(void)
{
    if (!sd_available)
    {
        return;
    }

    if (selected_map > 1)
    {
        return;
    }

    /*
     * Menor tiempo = mejor tiempo.
     */
    if (race_time_ms <
        best_time[selected_map])
    {
        best_time[selected_map] =
            race_time_ms;

        SaveRecordsToSD();
    }
}

/* USER CODE END 0 */

int main(void)
{

  /* MCU Configuration--------------------------------------------------------*/

  /* Reset of all peripherals, Initializes the Flash interface and the Systick. */
  HAL_Init();

  /* Configure the system clock */
  SystemClock_Config();

  /* Initialize all configured peripherals */
  MX_GPIO_Init();
  MX_DMA_Init();
  MX_SPI1_Init();
  MX_FATFS_Init();
  MX_TIM3_Init();
  MX_USART2_UART_Init();
  MX_USART3_UART_Init();
  MX_UART5_Init();
  /* USER CODE BEGIN 2 */

  HAL_Delay(200);

  ILI9341_Init();

  HAL_Delay(50);

  HAL_TIM_PWM_Start(
      &htim3,
      TIM_CHANNEL_1
  );

  LoadRecordsFromSD();

  HAL_UART_Receive_IT(
      &huart3,
      &p1_rx_byte,
      1
  );

  HAL_UART_Receive_IT(
      &huart5,
      &p2_rx_byte,
      1
  );

  idle_k1 =
      HAL_GPIO_ReadPin(
          K1_GPIO_Port,
          K1_Pin
      );

  idle_k2 =
      HAL_GPIO_ReadPin(
          K2_GPIO_Port,
          K2_Pin
      );

  idle_k3 =
      HAL_GPIO_ReadPin(
          K3_GPIO_Port,
          K3_Pin
      );

  idle_brake =
      HAL_GPIO_ReadPin(
          B1_GPIO_Port,
          B1_Pin
      );

  last_brake =
      idle_brake;

  last_k1 = idle_k1;
  last_k2 = idle_k2;
  last_k3 = idle_k3;

  last_tick =
      HAL_GetTick();

  last_frame_tick =
      HAL_GetTick();

  DrawMenu();

  /* USER CODE END 2 */

  /* Infinite loop */
  while (1)
  {

    /* USER CODE BEGIN 3 */

    GPIO_PinState k1 =
        HAL_GPIO_ReadPin(
            K1_GPIO_Port,
            K1_Pin
        );

    GPIO_PinState k2 =
        HAL_GPIO_ReadPin(
            K2_GPIO_Port,
            K2_Pin
        );

    GPIO_PinState k3 =
        HAL_GPIO_ReadPin(
            K3_GPIO_Port,
            K3_Pin
        );

    GPIO_PinState brake =
        HAL_GPIO_ReadPin(
            B1_GPIO_Port,
            B1_Pin
        );

    uint8_t brake_pressed =
        (brake != idle_brake);

    uint8_t brake_new =
        brake_pressed &&
        (last_brake == idle_brake);

    uint8_t k1_pressed =
        (k1 != idle_k1);

    uint8_t k2_pressed =
        (k2 != idle_k2);

    uint8_t k3_pressed =
        (k3 != idle_k3);

    uint8_t k1_new =
        k1_pressed &&
        (last_k1 == idle_k1);

    uint8_t k2_new =
        k2_pressed &&
        (last_k2 == idle_k2);

    uint8_t k3_new =
        k3_pressed &&
        (last_k3 == idle_k3);

    if (game_state ==
        STATE_MENU)
    {
        if (k1_new)
        {
            menu_selection = 0;

            DrawMenu();
        }

        if (k2_new)
        {
            menu_selection = 1;

            DrawMenu();
        }

        if (k3_new)
        {
            if (menu_selection == 0)
            {
                player_count = 1;
            }
            else
            {
                player_count = 2;
            }

            game_state =
                STATE_MAP_SELECT;

            DrawMapSelect();
        }
    }

    else if (game_state ==
             STATE_MAP_SELECT)
    {
        if (k1_new)
        {
            selected_map = 0;

            car_selection = 0;

            game_state =
                STATE_CAR_SELECT_P1;

            DrawCarSelect(1);
        }

        else if (k2_new)
        {
            selected_map = 1;

            car_selection = 0;

            game_state =
                STATE_CAR_SELECT_P1;

            DrawCarSelect(1);
        }

        else if (k3_new)
        {
            game_state =
                STATE_RECORDS;

            DrawRecords();
        }
    }

    else if (game_state ==
             STATE_RECORDS)
    {
        if (k3_new)
        {
            game_state =
                STATE_MAP_SELECT;

            DrawMapSelect();
        }
    }

    else if (game_state ==
             STATE_CAR_SELECT_P1)
    {
        if (k1_new)
        {
            if (car_selection == 0)
            {
                car_selection = 3;
            }
            else
            {
                car_selection--;
            }

            DrawCarSelect(1);
        }

        else if (k2_new)
        {
            car_selection++;

            if (car_selection >= 4)
            {
                car_selection = 0;
            }

            DrawCarSelect(1);
        }

        else if (k3_new)
        {
            selected_car_p1 =
                car_selection;

            if (player_count == 1)
            {
            	ResetRacePosition();

                last_tick =
                    HAL_GetTick();

                last_frame_tick =
                    HAL_GetTick();

                game_state =
                    STATE_GAME;

                RenderFrame();
            }
            else
            {
                car_selection =
                    (selected_car_p1 + 1) % 4;

                game_state =
                    STATE_CAR_SELECT_P2;

                DrawCarSelect(2);
            }
        }
    }

    else if (game_state ==
             STATE_CAR_SELECT_P2)
    {
        if (k1_new)
        {
            do
            {
                if (car_selection == 0)
                {
                    car_selection = 3;
                }
                else
                {
                    car_selection--;
                }

            } while (
                car_selection ==
                selected_car_p1
            );

            DrawCarSelect(2);
        }

        else if (k2_new)
        {
            do
            {
                car_selection++;

                if (car_selection >= 4)
                {
                    car_selection = 0;
                }

            } while (
                car_selection ==
                selected_car_p1
            );

            DrawCarSelect(2);
        }

        else if (k3_new)
        {
            selected_car_p2 =
                car_selection;

            ResetRacePosition();

            last_tick =
                HAL_GetTick();

            last_frame_tick =
                HAL_GetTick();

            game_state =
                STATE_GAME;

            RenderFrame();
        }
    }

    else if (game_state ==
             STATE_GAME)
    {
        uint32_t now =
            HAL_GetTick();

        float dt =
            (now - last_tick) /
            1000.0f;

        last_tick =
            now;

        if (dt > 0.1f)
        {
            dt = 0.1f;
        }

        uint8_t race_locked = 0;

        if (countdown_active)
        {
            uint32_t countdown_elapsed =
                now -
                countdown_start_tick;

            /*
             * Durante 3, 2, 1
             * nadie puede moverse.
             */
            if (countdown_elapsed <
                3000)
            {
                race_locked = 1;
            }

            /*
             * GO dura medio segundo
             * en pantalla.
             */
            if (countdown_elapsed >=
                3500)
            {
                countdown_active = 0;
            }
        }

        /*
         * Timer empieza exactamente
         * cuando termina 3, 2, 1.
         */
        if (!race_timer_started &&
            (now - countdown_start_tick) >= 3000)
        {
            race_start_tick =
                countdown_start_tick + 3000;

            race_timer_started = 1;
        }

        /*
         * Actualizar tiempo actual.
         */
        if (race_timer_started)
        {
            race_time_ms =
                now - race_start_tick;
        }

        /*
         * En 2 jugadores:
         * una pulsación nueva de B1
         * cambia quién controla K1/K2/K3.
         */

        if (!race_locked &&
            player_count == 2 &&
            brake_new)
        {
            if (active_player == 1)
            {
                active_player = 2;
            }
            else
            {
                active_player = 1;
            }
        }

        /*
         * PLAYER 1
         */

        uint8_t p1_left = 0;
        uint8_t p1_right = 0;
        uint8_t p1_accel = 0;
        uint8_t p1_brake = 0;

        /*
         * PLAYER 2
         */

        uint8_t p2_left = 0;
        uint8_t p2_right = 0;
        uint8_t p2_accel = 0;
        uint8_t p2_brake = 0;

        /*
         * Un jugador:
         * controles normales.
         */

        if (player_count == 1)
        {
            if ((HAL_GetTick() -
                 p1_last_rx_tick) > 150)
            {
                p1_controls = 0;
            }

            p1_left =
                (p1_controls &
                 CTRL_LEFT) != 0;

            p1_right =
                (p1_controls &
                 CTRL_RIGHT) != 0;

            p1_accel =
                (p1_controls &
                 CTRL_ACCEL) != 0;

            p1_brake =
                (p1_controls &
                 CTRL_BRAKE) != 0;
        }

        /*
         * Dos jugadores:
         * K controla solamente
         * el carro activo.
         */

        else
        {
            if ((HAL_GetTick() -
                 p1_last_rx_tick) > 150)
            {
                p1_controls = 0;
            }

            if ((HAL_GetTick() -
                 p2_last_rx_tick) > 150)
            {
                p2_controls = 0;
            }

            p1_left =
                (p1_controls &
                 CTRL_LEFT) != 0;

            p1_right =
                (p1_controls &
                 CTRL_RIGHT) != 0;

            p1_accel =
                (p1_controls &
                 CTRL_ACCEL) != 0;

            p1_brake =
                (p1_controls &
                 CTRL_BRAKE) != 0;

            p2_left =
                (p2_controls &
                 CTRL_LEFT) != 0;

            p2_right =
                (p2_controls &
                 CTRL_RIGHT) != 0;

            p2_accel =
                (p2_controls &
                 CTRL_ACCEL) != 0;

            p2_brake =
                (p2_controls &
                 CTRL_BRAKE) != 0;
        }

        if (race_locked)
        {
            p1_left = 0;
            p1_right = 0;
            p1_accel = 0;
            p1_brake = 0;

            p2_left = 0;
            p2_right = 0;
            p2_accel = 0;
            p2_brake = 0;
        }

        UpdateCar(
            &car1_x,
            &car1_y,
            &car1_angle,
            &car1_speed,
            p1_left,
            p1_right,
            p1_accel,
            p1_brake,
            dt
        );

        if (IsCarOnGrass(car1_x, car1_y))
        {
            if (car1_speed > GRASS_MAX_SPEED)
            {
                car1_speed -=
                    GRASS_DRAG * dt;

                if (car1_speed <
                    GRASS_MAX_SPEED)
                {
                    car1_speed =
                        GRASS_MAX_SPEED;
                }
            }
        }

        if (player_count == 2)
        {
            UpdateCar(
                &car2_x,
                &car2_y,
                &car2_angle,
                &car2_speed,
                p2_left,
                p2_right,
                p2_accel,
                p2_brake,
                dt
            );

            if (IsCarOnGrass(
                    car2_x,
                    car2_y))
            {
                if (car2_speed >
                    GRASS_MAX_SPEED)
                {
                    car2_speed -=
                        GRASS_DRAG * dt;

                    if (car2_speed <
                        GRASS_MAX_SPEED)
                    {
                        car2_speed =
                            GRASS_MAX_SPEED;
                    }
                }
            }
        }

        /*
         * Detectar ganador.
         * No revisar mientras siga
         * bloqueado el countdown.
         */
        if (!race_locked)
        {
            if (CheckLapCompleted(
                    car1_x,
                    car1_y,
                    &lap_armed_p1))
            {
                FinishRace(1);
            }
            else if (
                player_count == 2 &&
                CheckLapCompleted(
                    car2_x,
                    car2_y,
                    &lap_armed_p2))
            {
                FinishRace(2);
            }
        }

        if (game_state == STATE_GAME &&
            (now - last_frame_tick) >= 33)
        {
            last_frame_tick = now;

            RenderFrame();
        }
    }

    else if (game_state ==
             STATE_RACE_END)
    {
        if (HAL_GetTick() -
            race_end_tick >= 3000)
        {
            menu_selection = 0;

            game_state =
                STATE_MENU;

            DrawMenu();
        }
    }

    last_k1 = k1;
    last_k2 = k2;
    last_k3 = k3;
    last_brake = brake;

    }
  /* USER CODE END 3 */
}

void SystemClock_Config(void)
{
  RCC_OscInitTypeDef RCC_OscInitStruct = {0};
  RCC_ClkInitTypeDef RCC_ClkInitStruct = {0};

  /** Configure the main internal regulator output voltage
  */
  __HAL_RCC_PWR_CLK_ENABLE();
  __HAL_PWR_VOLTAGESCALING_CONFIG(PWR_REGULATOR_VOLTAGE_SCALE3);

  /** Initializes the RCC Oscillators according to the specified parameters
  * in the RCC_OscInitTypeDef structure.
  */
  RCC_OscInitStruct.OscillatorType = RCC_OSCILLATORTYPE_HSI;
  RCC_OscInitStruct.HSIState = RCC_HSI_ON;
  RCC_OscInitStruct.HSICalibrationValue = RCC_HSICALIBRATION_DEFAULT;
  RCC_OscInitStruct.PLL.PLLState = RCC_PLL_ON;
  RCC_OscInitStruct.PLL.PLLSource = RCC_PLLSOURCE_HSI;
  RCC_OscInitStruct.PLL.PLLM = 16;
  RCC_OscInitStruct.PLL.PLLN = 336;
  RCC_OscInitStruct.PLL.PLLP = RCC_PLLP_DIV4;
  RCC_OscInitStruct.PLL.PLLQ = 2;
  RCC_OscInitStruct.PLL.PLLR = 2;
  if (HAL_RCC_OscConfig(&RCC_OscInitStruct) != HAL_OK)
  {
    Error_Handler();
  }

  /** Initializes the CPU, AHB and APB buses clocks
  */
  RCC_ClkInitStruct.ClockType = RCC_CLOCKTYPE_HCLK|RCC_CLOCKTYPE_SYSCLK
                              |RCC_CLOCKTYPE_PCLK1|RCC_CLOCKTYPE_PCLK2;
  RCC_ClkInitStruct.SYSCLKSource = RCC_SYSCLKSOURCE_PLLCLK;
  RCC_ClkInitStruct.AHBCLKDivider = RCC_SYSCLK_DIV1;
  RCC_ClkInitStruct.APB1CLKDivider = RCC_HCLK_DIV2;
  RCC_ClkInitStruct.APB2CLKDivider = RCC_HCLK_DIV1;

  if (HAL_RCC_ClockConfig(&RCC_ClkInitStruct, FLASH_LATENCY_2) != HAL_OK)
  {
    Error_Handler();
  }
}

static void MX_SPI1_Init(void)
{

  /* SPI1 parameter configuration*/
  hspi1.Instance = SPI1;
  hspi1.Init.Mode = SPI_MODE_MASTER;
  hspi1.Init.Direction = SPI_DIRECTION_2LINES;
  hspi1.Init.DataSize = SPI_DATASIZE_8BIT;
  hspi1.Init.CLKPolarity = SPI_POLARITY_LOW;
  hspi1.Init.CLKPhase = SPI_PHASE_1EDGE;
  hspi1.Init.NSS = SPI_NSS_SOFT;
  hspi1.Init.BaudRatePrescaler = SPI_BAUDRATEPRESCALER_2;
  hspi1.Init.FirstBit = SPI_FIRSTBIT_MSB;
  hspi1.Init.TIMode = SPI_TIMODE_DISABLE;
  hspi1.Init.CRCCalculation = SPI_CRCCALCULATION_DISABLE;
  hspi1.Init.CRCPolynomial = 10;
  if (HAL_SPI_Init(&hspi1) != HAL_OK)
  {
    Error_Handler();
  }

}

static void MX_TIM3_Init(void)
{

  TIM_MasterConfigTypeDef sMasterConfig = {0};
  TIM_OC_InitTypeDef sConfigOC = {0};

  htim3.Instance = TIM3;
  htim3.Init.Prescaler = 83;
  htim3.Init.CounterMode = TIM_COUNTERMODE_UP;
  htim3.Init.Period = 999;
  htim3.Init.ClockDivision = TIM_CLOCKDIVISION_DIV1;
  htim3.Init.AutoReloadPreload = TIM_AUTORELOAD_PRELOAD_DISABLE;
  if (HAL_TIM_PWM_Init(&htim3) != HAL_OK)
  {
    Error_Handler();
  }
  sMasterConfig.MasterOutputTrigger = TIM_TRGO_RESET;
  sMasterConfig.MasterSlaveMode = TIM_MASTERSLAVEMODE_DISABLE;
  if (HAL_TIMEx_MasterConfigSynchronization(&htim3, &sMasterConfig) != HAL_OK)
  {
    Error_Handler();
  }
  sConfigOC.OCMode = TIM_OCMODE_PWM1;
  sConfigOC.Pulse = 500;
  sConfigOC.OCPolarity = TIM_OCPOLARITY_HIGH;
  sConfigOC.OCFastMode = TIM_OCFAST_DISABLE;
  if (HAL_TIM_PWM_ConfigChannel(&htim3, &sConfigOC, TIM_CHANNEL_1) != HAL_OK)
  {
    Error_Handler();
  }
  HAL_TIM_MspPostInit(&htim3);

}

static void MX_UART5_Init(void)
{

  huart5.Instance = UART5;
  huart5.Init.BaudRate = 115200;
  huart5.Init.WordLength = UART_WORDLENGTH_8B;
  huart5.Init.StopBits = UART_STOPBITS_1;
  huart5.Init.Parity = UART_PARITY_NONE;
  huart5.Init.Mode = UART_MODE_TX_RX;
  huart5.Init.HwFlowCtl = UART_HWCONTROL_NONE;
  huart5.Init.OverSampling = UART_OVERSAMPLING_16;
  if (HAL_UART_Init(&huart5) != HAL_OK)
  {
    Error_Handler();
  }

}

static void MX_USART2_UART_Init(void)
{

  huart2.Instance = USART2;
  huart2.Init.BaudRate = 115200;
  huart2.Init.WordLength = UART_WORDLENGTH_8B;
  huart2.Init.StopBits = UART_STOPBITS_1;
  huart2.Init.Parity = UART_PARITY_NONE;
  huart2.Init.Mode = UART_MODE_TX_RX;
  huart2.Init.HwFlowCtl = UART_HWCONTROL_NONE;
  huart2.Init.OverSampling = UART_OVERSAMPLING_16;
  if (HAL_UART_Init(&huart2) != HAL_OK)
  {
    Error_Handler();
  }

}

static void MX_USART3_UART_Init(void)
{

  huart3.Instance = USART3;
  huart3.Init.BaudRate = 115200;
  huart3.Init.WordLength = UART_WORDLENGTH_8B;
  huart3.Init.StopBits = UART_STOPBITS_1;
  huart3.Init.Parity = UART_PARITY_NONE;
  huart3.Init.Mode = UART_MODE_TX_RX;
  huart3.Init.HwFlowCtl = UART_HWCONTROL_NONE;
  huart3.Init.OverSampling = UART_OVERSAMPLING_16;
  if (HAL_UART_Init(&huart3) != HAL_OK)
  {
    Error_Handler();
  }

}

static void MX_DMA_Init(void)
{

  /* DMA controller clock enable */
  __HAL_RCC_DMA2_CLK_ENABLE();

  /* DMA interrupt init */
  /* DMA2_Stream3_IRQn interrupt configuration */
  HAL_NVIC_SetPriority(DMA2_Stream3_IRQn, 0, 0);
  HAL_NVIC_EnableIRQ(DMA2_Stream3_IRQn);

}

static void MX_GPIO_Init(void)
{
  GPIO_InitTypeDef GPIO_InitStruct = {0};

  /* GPIO Ports Clock Enable */
  __HAL_RCC_GPIOC_CLK_ENABLE();
  __HAL_RCC_GPIOH_CLK_ENABLE();
  __HAL_RCC_GPIOA_CLK_ENABLE();
  __HAL_RCC_GPIOB_CLK_ENABLE();
  __HAL_RCC_GPIOD_CLK_ENABLE();

  /*Configure GPIO pin Output Level */
  HAL_GPIO_WritePin(LCD_DC_GPIO_Port, LCD_DC_Pin, GPIO_PIN_RESET);

  /*Configure GPIO pin Output Level */
  HAL_GPIO_WritePin(LCD_RST_GPIO_Port, LCD_RST_Pin, GPIO_PIN_SET);

  /*Configure GPIO pin Output Level */
  HAL_GPIO_WritePin(GPIOB, SD_CS_Pin|LCD_CS_Pin, GPIO_PIN_SET);

  /*Configure GPIO pin : B1_Pin */
  GPIO_InitStruct.Pin = B1_Pin;
  GPIO_InitStruct.Mode = GPIO_MODE_IT_FALLING;
  GPIO_InitStruct.Pull = GPIO_NOPULL;
  HAL_GPIO_Init(B1_GPIO_Port, &GPIO_InitStruct);

  /*Configure GPIO pins : K1_Pin K2_Pin K3_Pin */
  GPIO_InitStruct.Pin = K1_Pin|K2_Pin|K3_Pin;
  GPIO_InitStruct.Mode = GPIO_MODE_INPUT;
  GPIO_InitStruct.Pull = GPIO_NOPULL;
  HAL_GPIO_Init(GPIOA, &GPIO_InitStruct);

  /*Configure GPIO pin : LCD_DC_Pin */
  GPIO_InitStruct.Pin = LCD_DC_Pin;
  GPIO_InitStruct.Mode = GPIO_MODE_OUTPUT_PP;
  GPIO_InitStruct.Pull = GPIO_NOPULL;
  GPIO_InitStruct.Speed = GPIO_SPEED_FREQ_LOW;
  HAL_GPIO_Init(LCD_DC_GPIO_Port, &GPIO_InitStruct);

  /*Configure GPIO pin : LCD_RST_Pin */
  GPIO_InitStruct.Pin = LCD_RST_Pin;
  GPIO_InitStruct.Mode = GPIO_MODE_OUTPUT_PP;
  GPIO_InitStruct.Pull = GPIO_NOPULL;
  GPIO_InitStruct.Speed = GPIO_SPEED_FREQ_LOW;
  HAL_GPIO_Init(LCD_RST_GPIO_Port, &GPIO_InitStruct);

  /*Configure GPIO pins : SD_CS_Pin LCD_CS_Pin */
  GPIO_InitStruct.Pin = SD_CS_Pin|LCD_CS_Pin;
  GPIO_InitStruct.Mode = GPIO_MODE_OUTPUT_PP;
  GPIO_InitStruct.Pull = GPIO_NOPULL;
  GPIO_InitStruct.Speed = GPIO_SPEED_FREQ_LOW;
  HAL_GPIO_Init(GPIOB, &GPIO_InitStruct);

}

/* USER CODE BEGIN 4 */

void HAL_UART_RxCpltCallback(UART_HandleTypeDef *huart)
{
    if (huart->Instance == USART3)
    {
        p1_controls = p1_rx_byte;
        p1_last_rx_tick = HAL_GetTick();

        HAL_UART_Receive_IT(
            &huart3,
            &p1_rx_byte,
            1
        );
    }

    if (huart->Instance == UART5)
    {
        p2_controls = p2_rx_byte;
        p2_last_rx_tick = HAL_GetTick();

        HAL_UART_Receive_IT(
            &huart5,
            &p2_rx_byte,
            1
        );
    }
}

/* USER CODE END 4 */

void Error_Handler(void)
{
  __disable_irq();
  while (1)
  {
  }
}
